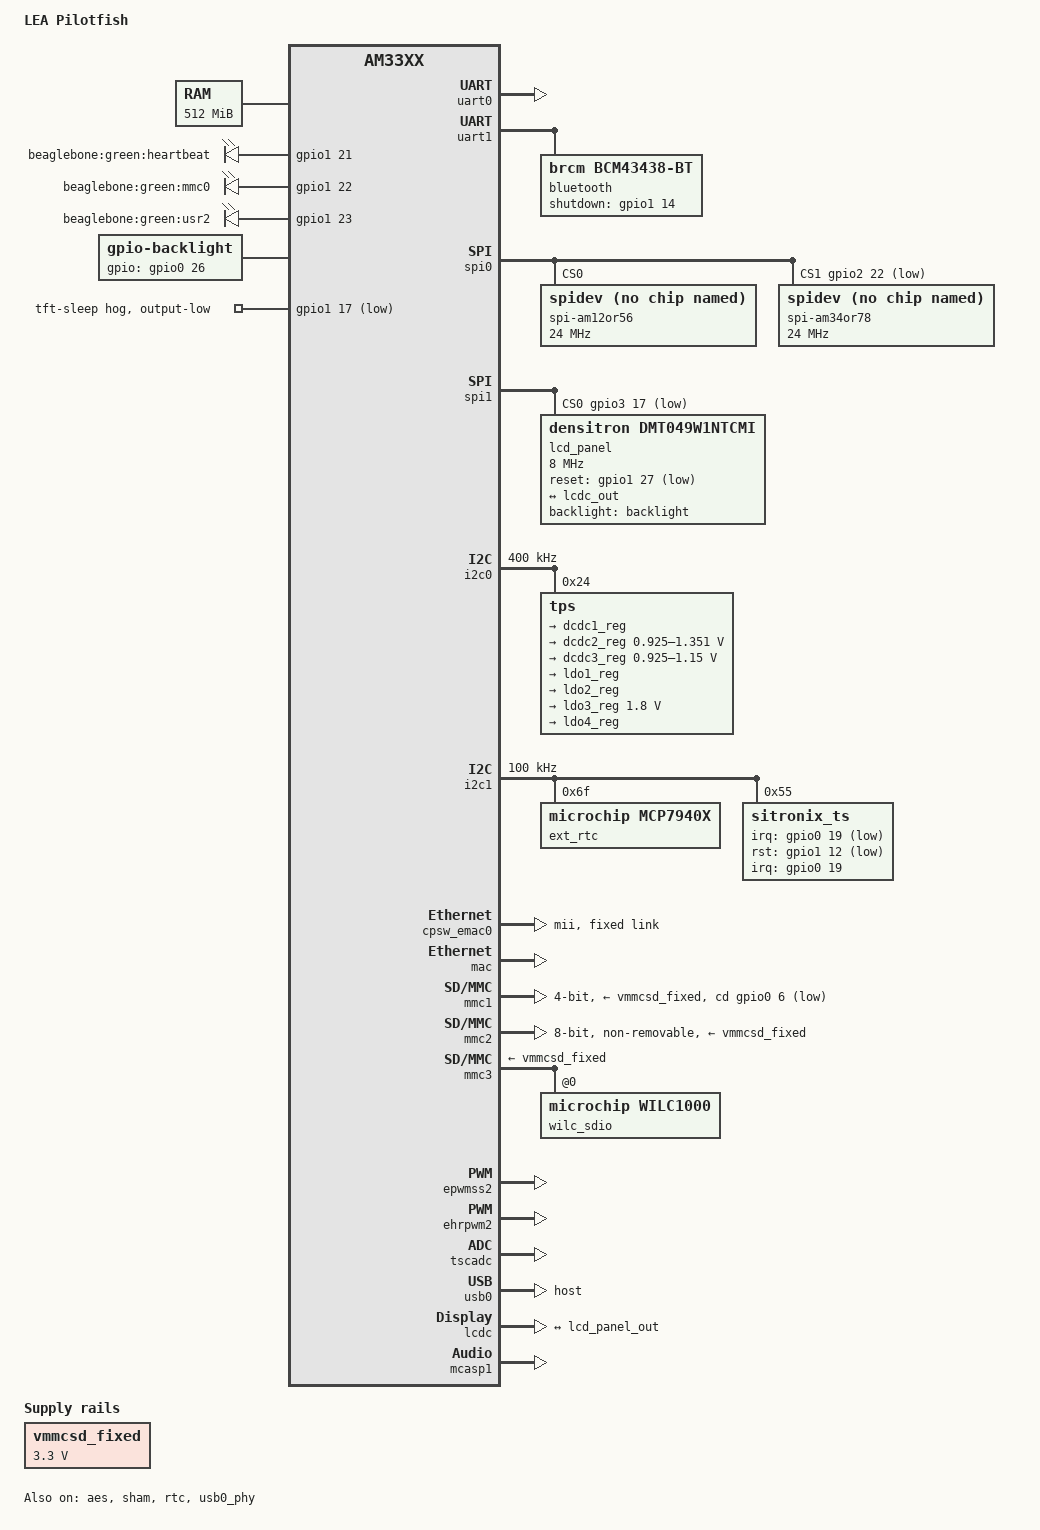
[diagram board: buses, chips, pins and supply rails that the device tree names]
// SPDX-License-Identifier: GPL-2.0-only
/*
 * Copyright (C) 2012 Texas Instruments Incorporated - https://www.ti.com/
 */
/dts-v1/;

#include <dt-bindings/interrupt-controller/irq.h>
#include "am33xx-lea-pilotfish.dtsi"

/ {
	aliases {
		rtc0 = &ext_rtc; /* Make the I2C RTC primary */
		rtc1 = &rtc;     /* Make the internal RTC secondary */
	};
};

/ {
	model = "LEA Pilotfish";
	compatible = "ti,am335x-bone-black", "ti,am335x-bone", "ti,am33xx";
};

/ {
	cpus {
		cpu@0 {
			cpu0-supply = <&dcdc2_reg>;
		};
	};

	memory@80000000 {
		device_type = "memory";
		reg = <0x80000000 0x20000000>; /* 512 MB */
	};

	chosen {
		stdout-path = &uart0;
	};

	leds {
		pinctrl-names = "default";
		pinctrl-0 = <&user_leds_s0>;

		compatible = "gpio-leds";

		led2 {
			label = "beaglebone:green:heartbeat";
			gpios = <&gpio1 21 GPIO_ACTIVE_HIGH>;
			linux,default-trigger = "heartbeat";
			default-state = "off";
		};

		led3 {
			label = "beaglebone:green:mmc0";
			gpios = <&gpio1 22 GPIO_ACTIVE_HIGH>;
			linux,default-trigger = "mmc0";
			default-state = "off";
		};

		led4 {
			label = "beaglebone:green:usr2";
			gpios = <&gpio1 23 GPIO_ACTIVE_HIGH>;
			linux,default-trigger = "cpu0";
			default-state = "off";
		};
	};

/* enable GPIO0[8] as active-high wakeup (note: wakeup not supported for normal gpios) */
  /* gpio_keys removed - LCD_DATA12 / GPIO0_8 reclaimed for LCDC */

	vmmcsd_fixed: fixedregulator0 {
		compatible = "regulator-fixed";
		regulator-name = "vmmcsd_fixed";
		regulator-min-microvolt = <3300000>;
		regulator-max-microvolt = <3300000>;
	};
};

&am33xx_pinmux {

	pinctrl-names = "default";
	pinctrl-0 = <&clkout2_pin &tof_pins>;

	clkout2_pin: pinmux_clkout2_pin {
		pinctrl-single,pins = <
			AM33XX_PADCONF(AM335X_PIN_XDMA_EVENT_INTR1, PIN_OUTPUT_PULLDOWN, MUX_MODE3)	/* xdma_event_intr1.clkout2 */
		>;
	};

	user_leds_s0: user_leds_s0 {
		pinctrl-single,pins = <
			AM33XX_PADCONF(AM335X_PIN_GPMC_A5, PIN_OUTPUT_PULLDOWN, MUX_MODE7)	/* gpmc_a5.gpio1_21 */
			AM33XX_PADCONF(AM335X_PIN_GPMC_A6, PIN_OUTPUT_PULLUP, MUX_MODE7)	/* gpmc_a6.gpio1_22 */
			AM33XX_PADCONF(AM335X_PIN_GPMC_A7, PIN_OUTPUT_PULLDOWN, MUX_MODE7)	/* gpmc_a7.gpio1_23 */
			AM33XX_PADCONF(AM335X_PIN_GPMC_A0, PIN_OUTPUT_PULLUP, MUX_MODE7)    /* gpmc_a0.gpio1_16 */
		>;
	};

	uart0_pins: pinmux_uart0_pins {
		pinctrl-single,pins = <
			AM33XX_PADCONF(AM335X_PIN_UART0_RXD, PIN_INPUT_PULLUP, MUX_MODE0)
			AM33XX_PADCONF(AM335X_PIN_UART0_TXD, PIN_OUTPUT_PULLDOWN, MUX_MODE0)
		>;
	};

	uart1_pins: pinmux_uart1_pins {
		pinctrl-single,pins = <
			AM33XX_IOPAD(AM335X_PIN_UART1_RXD, PIN_INPUT_PULLUP | MUX_MODE0)	/* uart1_rxd.uart1_rxd */
			AM33XX_IOPAD(AM335X_PIN_UART1_TXD, PIN_OUTPUT_PULLUP | MUX_MODE0)	/* uart1_txd.uart1_txd */
			AM33XX_IOPAD(AM335X_PIN_UART1_CTSN, PIN_INPUT_PULLUP | MUX_MODE0)	/* uart1_ctsn.uart1_ctsn */
			AM33XX_IOPAD(AM335X_PIN_UART1_RTSN, PIN_OUTPUT_PULLUP | MUX_MODE0)	/* uart1_rtsn.uart1_rtsn */
		>;
	};

	/* uart5 not used - LCD_DATA8/9 claimed by LCDC */

  spi0_pins: pinmux_spi0_pins {
    pinctrl-single,pins = <
      AM33XX_PADCONF(AM335X_PIN_SPI0_SCLK, PIN_INPUT_PULLUP, MUX_MODE0)	/* spi0 sclk (this is a quirk - sclk is actually an output, but pinmux must be programmed as an input for it to work! */
      AM33XX_PADCONF(AM335X_PIN_SPI0_D0, PIN_INPUT_PULLUP, MUX_MODE0)	  /* spi0 d0 */
      AM33XX_PADCONF(AM335X_PIN_SPI0_D1, PIN_OUTPUT_PULLUP, MUX_MODE0)	/* spi0 d1 */
      AM33XX_PADCONF(AM335X_PIN_SPI0_CS0, PIN_OUTPUT_PULLUP, MUX_MODE0)	/* spi0 cs0 */
    >;
  };

	spi1_pins: pinmux_spi1_pins {
		pinctrl-single,pins = <
			AM33XX_PADCONF(AM335X_PIN_MCASP0_ACLKX,  PIN_INPUT_PULLUP,    MUX_MODE3)	/* mcasp0_aclkx.spi1_sclk */
			AM33XX_PADCONF(AM335X_PIN_MCASP0_FSX,    PIN_OUTPUT_PULLDOWN, MUX_MODE3)	/* mcasp0_fsx.spi1_d0 - TFT_SDA (MOSI, ti,pindir-d0-out-d1-in) */
			AM33XX_PADCONF(AM335X_PIN_MCASP0_AXR0,   PIN_INPUT_PULLDOWN,  MUX_MODE3)	/* mcasp0_axr0.spi1_d1 - unused MISO */
			AM33XX_PADCONF(AM335X_PIN_MCASP0_AHCLKR, PIN_OUTPUT_PULLUP,   MUX_MODE3)	/* mcasp0_ahclkr.spi1_cs0 - TFT LCD init SPI */
		>;
	};

	lcd_pins: pinmux_lcd_pins {
		pinctrl-single,pins = <
			/* LCD panel reset - active low */
			AM33XX_PADCONF(AM335X_PIN_GPMC_A11, PIN_OUTPUT_PULLUP, MUX_MODE7)	/* gpmc_a11.gpio1_27 - LCD_RSTn */
			/* LCD panel sleep - active high (TFT_SLEEP) */
			AM33XX_PADCONF(AM335X_PIN_GPMC_A1, PIN_OUTPUT_PULLUP, MUX_MODE7)	/* gpmc_a1.gpio1_17 - TFT_SLEEP */
			/* CTP touch controller reset - active low */
			AM33XX_PADCONF(AM335X_PIN_GPMC_AD12, PIN_OUTPUT_PULLUP, MUX_MODE7)	/* gpmc_ad12.gpio1_12 - CTP_RST */
			/* CTP touch interrupt - active low, connected to XDMA_EVENT_INTR0 */
			AM33XX_PADCONF(AM335X_PIN_XDMA_EVENT_INTR0, PIN_INPUT_PULLUP, MUX_MODE7)	/* xdma_event_intr0.gpio0_19 - CTP_INT */
			/* 20V backlight enable - active high */
			AM33XX_PADCONF(AM335X_PIN_GPMC_AD10, PIN_OUTPUT_PULLDOWN, MUX_MODE7)	/* gpmc_ad10.gpio0_26 - BL_EN_20V */
		>;
	};

	i2c0_pins: pinmux_i2c0_pins {
		pinctrl-single,pins = <
			AM33XX_PADCONF(AM335X_PIN_I2C0_SDA, PIN_INPUT_PULLUP, MUX_MODE0)	/* i2c0_sda.i2c0_sda */
			AM33XX_PADCONF(AM335X_PIN_I2C0_SCL, PIN_INPUT_PULLUP, MUX_MODE0)	/* i2c0_scl.i2c0_scl */
		>;
	};

	i2c1_pins: pinmux_i2c1_pins {
		pinctrl-single,pins = <
			AM33XX_PADCONF(AM335X_PIN_UART0_CTSN, PIN_INPUT_PULLUP, MUX_MODE3)	/* uart0_ctsn.i2c1_sda */
			AM33XX_PADCONF(AM335X_PIN_UART0_RTSN, PIN_INPUT_PULLUP, MUX_MODE3)	/* uart0_rtsn.i2c1_scl */
		>;
	};


	cpsw_default: cpsw_default {
		pinctrl-single,pins = <
			/* Slave 1 */
			AM33XX_PADCONF(AM335X_PIN_MII1_RX_ER, PIN_INPUT, MUX_MODE0)
			AM33XX_PADCONF(AM335X_PIN_MII1_TX_EN, PIN_OUTPUT, MUX_MODE0)
			AM33XX_PADCONF(AM335X_PIN_MII1_RX_DV, PIN_INPUT, MUX_MODE0)
			AM33XX_PADCONF(AM335X_PIN_MII1_TXD3, PIN_OUTPUT, MUX_MODE0)
			AM33XX_PADCONF(AM335X_PIN_MII1_TXD2, PIN_OUTPUT, MUX_MODE0)
			AM33XX_PADCONF(AM335X_PIN_MII1_TXD1, PIN_OUTPUT, MUX_MODE0)
			AM33XX_PADCONF(AM335X_PIN_MII1_TXD0, PIN_OUTPUT, MUX_MODE0)
			AM33XX_PADCONF(AM335X_PIN_MII1_TX_CLK, PIN_INPUT, MUX_MODE0)
			AM33XX_PADCONF(AM335X_PIN_MII1_RX_CLK, PIN_INPUT, MUX_MODE0)
			AM33XX_PADCONF(AM335X_PIN_MII1_RXD3, PIN_INPUT, MUX_MODE0)
			AM33XX_PADCONF(AM335X_PIN_MII1_RXD2, PIN_INPUT, MUX_MODE0)
			AM33XX_PADCONF(AM335X_PIN_MII1_RXD1, PIN_INPUT, MUX_MODE0)
			AM33XX_PADCONF(AM335X_PIN_MII1_RXD0, PIN_INPUT, MUX_MODE0)
		>;
	};

	cpsw_sleep: cpsw_sleep {
		pinctrl-single,pins = <
			/* Slave 1 reset value */
			AM33XX_PADCONF(AM335X_PIN_MII1_RX_ER, PIN_INPUT_PULLDOWN, MUX_MODE7)
			AM33XX_PADCONF(AM335X_PIN_MII1_TX_EN, PIN_INPUT_PULLDOWN, MUX_MODE7)
			AM33XX_PADCONF(AM335X_PIN_MII1_RX_DV, PIN_INPUT_PULLDOWN, MUX_MODE7)
			AM33XX_PADCONF(AM335X_PIN_MII1_TXD3, PIN_INPUT_PULLDOWN, MUX_MODE7)
			AM33XX_PADCONF(AM335X_PIN_MII1_TXD2, PIN_INPUT_PULLDOWN, MUX_MODE7)
			AM33XX_PADCONF(AM335X_PIN_MII1_TXD1, PIN_INPUT_PULLDOWN, MUX_MODE7)
			AM33XX_PADCONF(AM335X_PIN_MII1_TXD0, PIN_INPUT_PULLDOWN, MUX_MODE7)
			AM33XX_PADCONF(AM335X_PIN_MII1_TX_CLK, PIN_INPUT_PULLDOWN, MUX_MODE7)
			AM33XX_PADCONF(AM335X_PIN_MII1_RX_CLK, PIN_INPUT_PULLDOWN, MUX_MODE7)
			AM33XX_PADCONF(AM335X_PIN_MII1_RXD3, PIN_INPUT_PULLDOWN, MUX_MODE7)
			AM33XX_PADCONF(AM335X_PIN_MII1_RXD2, PIN_INPUT_PULLDOWN, MUX_MODE7)
			AM33XX_PADCONF(AM335X_PIN_MII1_RXD1, PIN_INPUT_PULLDOWN, MUX_MODE7)
			AM33XX_PADCONF(AM335X_PIN_MII1_RXD0, PIN_INPUT_PULLDOWN, MUX_MODE7)
		>;
	};

	davinci_mdio_default: davinci_mdio_default {
		pinctrl-single,pins = <
			/* MDIO */
			AM33XX_PADCONF(AM335X_PIN_MDIO, PIN_INPUT_PULLUP | SLEWCTRL_FAST, MUX_MODE0)
			AM33XX_PADCONF(AM335X_PIN_MDC, PIN_OUTPUT_PULLUP, MUX_MODE0)
		>;
	};

	davinci_mdio_sleep: davinci_mdio_sleep {
		pinctrl-single,pins = <
			/* MDIO reset value */
			AM33XX_PADCONF(AM335X_PIN_MDIO, PIN_INPUT_PULLDOWN, MUX_MODE7)
			AM33XX_PADCONF(AM335X_PIN_MDC, PIN_INPUT_PULLDOWN, MUX_MODE7)
		>;
	};

	mmc1_pins: pinmux_mmc1_pins {
		pinctrl-single,pins = <
			AM33XX_PADCONF(AM335X_PIN_MMC0_DAT3, PIN_INPUT_PULLUP, MUX_MODE0)
			AM33XX_PADCONF(AM335X_PIN_MMC0_DAT2, PIN_INPUT_PULLUP, MUX_MODE0)
			AM33XX_PADCONF(AM335X_PIN_MMC0_DAT1, PIN_INPUT_PULLUP, MUX_MODE0)
			AM33XX_PADCONF(AM335X_PIN_MMC0_DAT0, PIN_INPUT_PULLUP, MUX_MODE0)
			AM33XX_PADCONF(AM335X_PIN_MMC0_CLK, PIN_INPUT_PULLUP, MUX_MODE0)
			AM33XX_PADCONF(AM335X_PIN_MMC0_CMD, PIN_INPUT_PULLUP, MUX_MODE0)
		>;
	};

	emmc_pins: pinmux_emmc_pins {
		pinctrl-single,pins = <
			AM33XX_PADCONF(AM335X_PIN_GPMC_CSN1, PIN_INPUT_PULLUP, MUX_MODE2) /* gpmc_csn1.mmc1_clk */
			AM33XX_PADCONF(AM335X_PIN_GPMC_CSN2, PIN_INPUT_PULLUP, MUX_MODE2) /* gpmc_csn2.mmc1_cmd */
			AM33XX_PADCONF(AM335X_PIN_GPMC_AD0, PIN_INPUT_PULLUP, MUX_MODE1) /* gpmc_ad0.mmc1_dat0 */
			AM33XX_PADCONF(AM335X_PIN_GPMC_AD1, PIN_INPUT_PULLUP, MUX_MODE1) /* gpmc_ad1.mmc1_dat1 */
			AM33XX_PADCONF(AM335X_PIN_GPMC_AD2, PIN_INPUT_PULLUP, MUX_MODE1) /* gpmc_ad2.mmc1_dat2 */
			AM33XX_PADCONF(AM335X_PIN_GPMC_AD3, PIN_INPUT_PULLUP, MUX_MODE1) /* gpmc_ad3.mmc1_dat3 */
			AM33XX_PADCONF(AM335X_PIN_GPMC_AD4, PIN_INPUT_PULLUP, MUX_MODE1) /* gpmc_ad4.mmc1_dat4 */
			AM33XX_PADCONF(AM335X_PIN_GPMC_AD5, PIN_INPUT_PULLUP, MUX_MODE1) /* gpmc_ad5.mmc1_dat5 */
			AM33XX_PADCONF(AM335X_PIN_GPMC_AD6, PIN_INPUT_PULLUP, MUX_MODE1) /* gpmc_ad6.mmc1_dat6 */
			AM33XX_PADCONF(AM335X_PIN_GPMC_AD7, PIN_INPUT_PULLUP, MUX_MODE1) /* gpmc_ad7.mmc1_dat7 */
		>;
	};

  wifi_pins: pinmux_wifi_pins {
    pinctrl-single,pins = <
      AM33XX_PADCONF(AM335X_PIN_GPMC_CLK, PIN_INPUT_PULLUP, MUX_MODE3) /* wifi_mmc2_clk  GPMC_CLK  / GPIO2_1  (V12) */
      AM33XX_PADCONF(AM335X_PIN_GPMC_CSN3, PIN_INPUT_PULLUP, MUX_MODE3) /* wifi_mmc2_cmd  GPMC_CSN3 / GPIO2_0  (T13) */
      //AM33XX_PADCONF(AM335X_PIN_GPMC_AD12, PIN_INPUT_PULLUP, MUX_MODE3) /* wifi_mmc2_dat0 GPMC_AD12 / GPIO1_12 (T12) */
      AM33XX_PADCONF(AM335X_PIN_GPMC_AD13, PIN_INPUT_PULLUP, MUX_MODE3) /* wifi_mmc2_dat1 GPMC_AD13 / GPIO1_13 (R12) */
      AM33XX_PADCONF(AM335X_PIN_GPMC_AD15, PIN_INPUT_PULLUP, MUX_MODE3) /* wifi_mmc2_dat3 GPMC_AD15 / GPIO1_15 (U13) */
      //AM33XX_PADCONF(AM335X_PIN_GPMC_A1, PIN_INPUT_PULLUP, MUX_MODE7) /* wifi_mmc2_/rst GPMC_A1   / GPIO1_17 (V14) */
      //AM33XX_PADCONF(AM335X_PIN_UART0_RTSN, PIN_INPUT_PULLUP, MUX_MODE7) /* 3.3V switched power supply enable UART0_RTS / GPIO1_9 */
    >;
  };

  bt_pins: pinmux_bt_pins {
    pinctrl-single,pins = <
      AM33XX_PADCONF(AM335X_PIN_GPMC_AD14, PIN_OUTPUT_PULLDOWN, MUX_MODE7) /* gpmc_ad14.gpio1_14 - CYBT-343026-01 BT_REG_ON (active-high, pulled low at boot) */
    >;
  };

	/* McASP1 I2S output to Dante module.
	 * All three pads are on the MCASP0_* ball row, muxed to mcasp1 at MUX_MODE3.
	 * McASP1 is configured as I2S master (drives BCLK and LRCLK).
	 *   MCASP0_ACLKR  (B12 / gpio3_18) → mcasp1_aclkx  = BCLK
	 *   MCASP0_FSR    (C13 / gpio3_19) → mcasp1_fsx    = LRCLK
	 *   MCASP0_AHCLKX (A14 / gpio3_21) → mcasp1_axr1   = DOUT (serializer 1)
	 */
	mcasp1_pins: pinmux_mcasp1_pins {
		pinctrl-single,pins = <
			AM33XX_PADCONF(AM335X_PIN_MCASP0_ACLKR,  PIN_OUTPUT_PULLDOWN, MUX_MODE3) /* mcasp0_aclkr.mcasp1_aclkx  - BCLK  (B12) */
			AM33XX_PADCONF(AM335X_PIN_MCASP0_FSR,    PIN_OUTPUT_PULLDOWN, MUX_MODE3) /* mcasp0_fsr.mcasp1_fsx      - LRCLK (C13) */
			AM33XX_PADCONF(AM335X_PIN_MCASP0_AHCLKX, PIN_OUTPUT_PULLDOWN, MUX_MODE3) /* mcasp0_ahclkx.mcasp1_axr1  - DOUT  (A14) */
		>;
	};

	ehrpwm1_pins: pinmux_ehrpwm1_pins {
		pinctrl-single,pins = <
			/* AM33XX_PADCONF(AM335X_PIN_GPMC_A2, PIN_OUTPUT_PULLDOWN, MUX_MODE6) *//* ehrpwm1 A */
			/* AM33XX_PADCONF(AM335X_PIN_GPMC_A3, PIN_OUTPUT_PULLDOWN, MUX_MODE6) *//* ehrpwm1 B */
		>;
	};
	ehrpwm2_pins: pinmux_ehrpwm2_pins {
		pinctrl-single,pins = <
			AM33XX_PADCONF(AM335X_PIN_GPMC_AD8, PIN_OUTPUT_PULLDOWN, MUX_MODE4)	/* ehrpwm2 A */
			/* AM33XX_PADCONF(AM335X_PIN_GPMC_AD9, PIN_OUTPUT_PULLDOWN, MUX_MODE4) *//* ehrpwm2 B */
		>;
	};

	/* gpio0_8 / LCD_DATA12 reclaimed by LCDC - wakeup key removed */

	tof_pins: pinmux_tof_pins {
		pinctrl-single,pins = <
			AM33XX_PADCONF(AM335X_PIN_RMII1_REF_CLK, PIN_INPUT_PULLUP, MUX_MODE7)  /* rmii1_ref_clk.gpio0_29 - ToF sensor interrupt */
			AM33XX_PADCONF(AM335X_PIN_GPMC_WEN, PIN_OUTPUT_PULLDOWN, MUX_MODE7)    /* gpmc_wen.gpio2_4 - ToF XSHUT (active-low, pulled low at boot) */
		>;
	};

	/* DMT049W1NTCMI-1A parallel RGB bus (16-bit RGB565).
	 * All 16 data lines available - UART5 disabled, wakeup key removed. */
	lcdc_pins: pinmux_lcdc_pins {
		pinctrl-single,pins = <
			AM33XX_PADCONF(AM335X_PIN_LCD_DATA0,  PIN_OUTPUT, MUX_MODE0)	/* lcd_data0 */
			AM33XX_PADCONF(AM335X_PIN_LCD_DATA1,  PIN_OUTPUT, MUX_MODE0)	/* lcd_data1 */
			AM33XX_PADCONF(AM335X_PIN_LCD_DATA2,  PIN_OUTPUT, MUX_MODE0)	/* lcd_data2 */
			AM33XX_PADCONF(AM335X_PIN_LCD_DATA3,  PIN_OUTPUT, MUX_MODE0)	/* lcd_data3 */
			AM33XX_PADCONF(AM335X_PIN_LCD_DATA4,  PIN_OUTPUT, MUX_MODE0)	/* lcd_data4 */
			AM33XX_PADCONF(AM335X_PIN_LCD_DATA5,  PIN_OUTPUT, MUX_MODE0)	/* lcd_data5 */
			AM33XX_PADCONF(AM335X_PIN_LCD_DATA6,  PIN_OUTPUT, MUX_MODE0)	/* lcd_data6 */
			AM33XX_PADCONF(AM335X_PIN_LCD_DATA7,  PIN_OUTPUT, MUX_MODE0)	/* lcd_data7 */
			AM33XX_PADCONF(AM335X_PIN_LCD_DATA8,  PIN_OUTPUT, MUX_MODE0)	/* lcd_data8  (was UART5 TXD) */
			AM33XX_PADCONF(AM335X_PIN_LCD_DATA9,  PIN_OUTPUT, MUX_MODE0)	/* lcd_data9  (was UART5 RXD) */
			AM33XX_PADCONF(AM335X_PIN_LCD_DATA10, PIN_OUTPUT, MUX_MODE0)	/* lcd_data10 */
			AM33XX_PADCONF(AM335X_PIN_LCD_DATA11, PIN_OUTPUT, MUX_MODE0)	/* lcd_data11 */
			AM33XX_PADCONF(AM335X_PIN_LCD_DATA12, PIN_OUTPUT, MUX_MODE0)	/* lcd_data12 (was wakeup GPIO0_8) */
			AM33XX_PADCONF(AM335X_PIN_LCD_DATA13, PIN_OUTPUT, MUX_MODE0)	/* lcd_data13 */
			AM33XX_PADCONF(AM335X_PIN_LCD_DATA14, PIN_OUTPUT, MUX_MODE0)	/* lcd_data14 */
			AM33XX_PADCONF(AM335X_PIN_LCD_DATA15, PIN_OUTPUT, MUX_MODE0)	/* lcd_data15 */
			/* Control signals */
			AM33XX_PADCONF(AM335X_PIN_LCD_VSYNC,      PIN_OUTPUT, MUX_MODE0)	/* lcd_vsync */
			AM33XX_PADCONF(AM335X_PIN_LCD_HSYNC,      PIN_OUTPUT, MUX_MODE0)	/* lcd_hsync */
			AM33XX_PADCONF(AM335X_PIN_LCD_PCLK,       PIN_OUTPUT, MUX_MODE0)	/* lcd_pclk */
			AM33XX_PADCONF(AM335X_PIN_LCD_AC_BIAS_EN, PIN_OUTPUT, MUX_MODE0)	/* lcd_ac_bias_en / DE */
		>;
	};

	usb0_drvvbus_pins: pinmux_usb0_drvvbus_pins {
		pinctrl-single,pins = <
			AM33XX_PADCONF(AM335X_PIN_USB0_DRVVBUS, PIN_OUTPUT_PULLDOWN, MUX_MODE0)	/* usb0_drvvbus - MUSB hardware VBUS enable output to external 5V switch */
		>;
	};
};

&uart0 {
	pinctrl-names = "default";
	pinctrl-0 = <&uart0_pins>;
	status = "okay";
};

&uart1 {
	pinctrl-names = "default";
	pinctrl-0 = <&uart1_pins &bt_pins>;
	status = "okay";

	bluetooth {
		compatible = "brcm,bcm43438-bt";
		max-speed = <3000000>;
		shutdown-gpios = <&gpio1 14 GPIO_ACTIVE_HIGH>;
	};
};

&uart5 {
	/* UART5 disabled - LCD_DATA8/9 reclaimed for LCDC */
	status = "disabled";
};

&spi0 { 
    status = "okay";
    pinctrl-names = "default";
    pinctrl-0 = <&spi0_pins>;
    cs-gpios = <0>, <&gpio2 22 GPIO_ACTIVE_LOW>; /* note: SPI chip selects are steered externally with an additional GPIO pin */
    spi-am12or56@0 {
        spi-max-frequency = <24000000>;
        reg = <0>;
        compatible = "linux,spidev";
    };
    spi-am34or78@1 {
        spi-max-frequency = <24000000>;
        reg = <1>;
        compatible = "linux,spidev";
    };
};

&spi1 {
    status = "okay";
    pinctrl-names = "default";
    pinctrl-0 = <&spi1_pins &lcd_pins>;
    /* cs0: MCASP0_AHCLKR / gpio3_17 - TFT LCD SPI init (only device on SPI1) */
    cs-gpios = <&gpio3 17 GPIO_ACTIVE_LOW>;
    num-chipselects = <1>;
    /* TFT_SDA is wired to SPI1_D0 (MISO pin), not SPI1_D1 (MOSI pin).
     * This property swaps the D0/D1 directions so D0 becomes the output. */
    ti,pindir-d0-out-d1-in;

    /* DMT049W1NTCMI-1A LCD SPI init interface (Sitronix ST7102 TDDI)
     * SPI Mode 3 (CPOL=1, CPHA=1), write-only, used only for panel init sequence.
     * Pixel data is delivered over the RGB parallel (LCDC) bus.
     * Bound to panel-dmt049w1ntcmi kernel driver which fires init in .prepare().
     * tilcdc connects directly to this panel via the port/endpoint graph. */
    lcd_panel: spi-lcd@0 {
        compatible = "densitron,dmt049w1ntcmi";
        reg = <0>;
        spi-max-frequency = <8000000>;
        spi-cpol;
        spi-cpha;
        /* LCD hard reset: GPMC_A11 / gpio1_27, active-low */
        reset-gpios = <&gpio1 27 GPIO_ACTIVE_LOW>;
        backlight = <&backlight>;
        port {
            lcd_panel_out: endpoint {
                remote-endpoint = <&lcdc_out>;
            };
        };
    };
};

&i2c0 {
	pinctrl-names = "default";
	pinctrl-0 = <&i2c0_pins>;
	status = "okay";
	clock-frequency = <400000>;
	tps: tps@24 {
		reg = <0x24>;
	};
};

&i2c1 {
	pinctrl-names = "default";
	pinctrl-0 = <&i2c1_pins>;
	status = "okay";
	clock-frequency = <100000>;

	ext_rtc: rtc@6f {
		compatible = "microchip,mcp7940x";
		reg = <0x6f>;
	};

	/* Sitronix ST7102 TDDI capacitive touch controller
	 * Part of the Densitron DMT049W1NTCMI-1A display module.
	 * I2C address: 0x55 (7-bit) = 0xAA write / 0xAB read (8-bit per datasheet)
	 * IRQ:   XDMA_EVENT_INTR0 / gpio0_19
	 * Reset: GPMC_AD12        / gpio1_12 */
	sitronix_ts: sitronix@55 {
		compatible = "sitronix_ts";
		reg = <0x55>;
		interrupt-parent = <&gpio0>;
		interrupts = <19 IRQ_TYPE_EDGE_FALLING>;
		irq-gpio = <&gpio0 19 GPIO_ACTIVE_LOW>;
		rst-gpio = <&gpio1 12 GPIO_ACTIVE_LOW>;
		status = "okay";
	};
};

&i2c2 {
	/* uart1_ctsn/rtsn pins are used for CYBT-343026-01 UART1 flow control; i2c2 is unavailable */
	status = "disabled";
};

/include/ "tps65217.dtsi"

&tps {
	/*
	 * Configure pmic to enter OFF-state instead of SLEEP-state ("RTC-only
	 * mode") at poweroff.  Most BeagleBone versions do not support RTC-only
	 * mode and risk hardware damage if this mode is entered.
	 *
	 * For details, see linux-omap mailing list May 2015 thread
	 *	[PATCH] ARM: dts: am335x-bone* enable pmic-shutdown-controller
	 * In particular, messages:
	 *	http://www.spinics.net/lists/linux-omap/msg118585.html
	 *	http://www.spinics.net/lists/linux-omap/msg118615.html
	 *
	 * You can override this later with
	 *	&tps {  /delete-property/ ti,pmic-shutdown-controller;  }
	 * if you want to use RTC-only mode and made sure you are not affected
	 * by the hardware problems. (Tip: double-check by performing a current
	 * measurement after shutdown: it should be less than 1 mA.)
	 */

	interrupts = <7>; /* NMI */
	interrupt-parent = <&intc>;

	ti,pmic-shutdown-controller;

	charger {
		status = "okay";
	};

	pwrbutton {
		status = "okay";
	};

	regulators {
		dcdc1_reg: regulator@0 {
			regulator-name = "vdds_dpr";
			regulator-always-on;
		};

		dcdc2_reg: regulator@1 {
			/* VDD_MPU voltage limits 0.95V - 1.26V with +/-4% tolerance */
			regulator-name = "vdd_mpu";
			regulator-min-microvolt = <925000>;
			regulator-max-microvolt = <1351500>;
			regulator-boot-on;
			regulator-always-on;
		};

		dcdc3_reg: regulator@2 {
			/* VDD_CORE voltage limits 0.95V - 1.1V with +/-4% tolerance */
			regulator-name = "vdd_core";
			regulator-min-microvolt = <925000>;
			regulator-max-microvolt = <1150000>;
			regulator-boot-on;
			regulator-always-on;
		};

		ldo1_reg: regulator@3 {
			regulator-name = "vio,vrtc,vdds";
			regulator-always-on;
		};

		ldo2_reg: regulator@4 {
			regulator-name = "vdd_3v3aux";
			regulator-always-on;
		};

		ldo3_reg: regulator@5 {
			regulator-name = "vdd_1v8";
			regulator-always-on;
		};

		ldo4_reg: regulator@6 {
			regulator-name = "vdd_3v3a";
			regulator-always-on;
		};
	};
};

&cpsw_emac0 {
	phy-mode = "mii";

    fixed-link {
        speed = <100>;
        full-duplex;
    };
};

&cpsw_emac1 {
	status = "disabled";
};

&mac {
	pinctrl-names = "default", "sleep";
	pinctrl-0 = <&cpsw_default>;
	pinctrl-1 = <&cpsw_sleep>;
	status = "okay";
	slaves = <1>;
	active_slave = <0>;
};

&davinci_mdio {
    status = "disabled";
};

&aes {
	status = "okay";
};

&sham {
	status = "okay";
};

&rtc {
	clocks = <&clk_32768_ck>, <&clk_24mhz_clkctrl AM3_CLK_24MHZ_CLKDIV32K_CLKCTRL 0>;
	clock-names = "ext-clk", "int-clk";
	system-power-controller;
	status = "okay";
};


&ldo3_reg {
	regulator-min-microvolt = <1800000>;
	regulator-max-microvolt = <1800000>;
	regulator-always-on;
};

&mmc1 {
	status = "okay";
	vmmc-supply = <&vmmcsd_fixed>;
	bus-width = <4>;
	pinctrl-names = "default";
	pinctrl-0 = <&mmc1_pins>;
	cd-gpios = <&gpio0 6 GPIO_ACTIVE_LOW>;
};

&mmc2 {
	vmmc-supply = <&vmmcsd_fixed>;
	pinctrl-names = "default";
	pinctrl-0 = <&emmc_pins>;
	bus-width = <8>;
	status = "okay";
	non-removable;
};

&mmc3 {
  vmmc-supply = <&vmmcsd_fixed>;
  pinctrl-names = "default";
  pinctrl-0 = <&wifi_pins>;
  max-frequency = <25000000>;
  dmas = <&edma_xbar 12 0 1>, <&edma_xbar 13 0 2>;
  dma-names = "tx", "rx";
  status = "okay";
  //non-removable;
  //broken-cd;
  wilc_sdio@0 {
    compatible = "microchip,wilc1000";
    status = "okay";
    reg = <0x0>;
    bus-width = <0x4>;
    clocks = <&clk_32768_ck>;
    clock-names = "rtc";
  };
};

/*
&epwmss1 {
  status = "okay";
};
&ehrpwm1 {
  pinctrl-names = "default";
  pinctrl-0 = <&ehrpwm1_pins>;
  status = "okay";
};
*/
&epwmss2 {
  status = "okay";
};
&ehrpwm2 {
  pinctrl-names = "default";
  pinctrl-0 = <&ehrpwm2_pins>;
  status = "okay";
};

&cpu0_opp_table {
	/*
	 * All PG 2.0 silicon may not support 1GHz but some of the early
	 * BeagleBone Blacks have PG 2.0 silicon which is guaranteed
	 * to support 1GHz OPP so enable it for PG 2.0 on this board.
	 */
	oppnitro-1000000000 {
		opp-supported-hw = <0x06 0x0100>;
	};
};

&gpio0 {
	gpio-line-names =
		"[mdio_data]",
		"[mdio_clk]",
		"P9_22 [spi0_sclk]",
		"P9_21 [spi0_d0]",
		"P9_18 [spi0_d1]",
		"P9_17 [spi0_cs0]",
		"[mmc0_cd]",
		"P8_42A [ecappwm0]",
		"[lcd_data12]",
		"[lcd_data13]",
		"[lcd_data14]",
		"[lcd_data15]",
		"P9_20 [i2c2_sda]",
		"P9_19 [i2c2_scl]",
		"P9_26 [uart1_rxd]",
		"P9_24 [uart1_txd]",
		"[rmii1_txd3]",
		"[rmii1_txd2]",
		"[usb0_drvvbus]",
		"[hdmi cec]",
		"P9_41B",
		"[rmii1_txd1]",
		"P8_19 [ehrpwm2a]",
		"P8_13 [ehrpwm2b]",
		"[ctp_int]",
		"NC",
		"[bl_en_20v]",
		"P8_17",
		"[rmii1_txd0]",
		"[rmii1_refclk] [tof_irq]",
		"P9_11 [uart4_rxd]",
		"P9_13 [uart4_txd]";
};

&gpio1 {
	gpio-line-names =
		"P8_25 [mmc1_dat0]",
		"[mmc1_dat1]",
		"P8_5 [mmc1_dat2]",
		"P8_6 [mmc1_dat3]",
		"P8_23 [mmc1_dat4]",
		"P8_22 [mmc1_dat5]",
		"P8_3 [mmc1_dat6]",
		"P8_4 [mmc1_dat7]",
		"NC",
		"NC",
		"NC",
		"NC",
		"[ctp_rst]",
		"P8_11",
		"P8_16",
		"P8_15",
		"P9_15A",
		"P9_23",
		"P9_14 [ehrpwm1a]",
		"P9_16 [ehrpwm1b]",
		"[emmc rst]",
		"[usr0 led]",
		"[usr1 led]",
		"[usr2 led]",
		"[usr3 led]",
		"[hdmi irq]",
		"[usb vbus oc]",
		"[lcd_rstn]",
		"P9_12",
		"P8_26",
		"P8_21 [emmc]",
		"P8_20 [emmc]";

	tft-sleep-hog {
		gpio-hog;
		/* TFT_SLEEP is active-low: pin HIGH = display awake, pin LOW = display sleeping.
		 * GPIO_ACTIVE_LOW + output-low = logically deasserted = pin physically HIGH = awake. */
		gpios = <17 GPIO_ACTIVE_LOW>;
		output-low;
		line-name = "tft-sleep";
	};
};

&gpio2 {
	gpio-line-names =
		"P9_15B",
		"P8_18",
		"P8_7",
		"P8_8",
		"[gpmc_wen] [tof_xshut]",
		"P8_9",
		"P8_45 [hdmi]",
		"P8_46 [hdmi]",
		"P8_43 [hdmi]",
		"P8_44 [hdmi]",
		"P8_41 [hdmi]",
		"P8_42 [hdmi]",
		"P8_39 [hdmi]",
		"P8_40 [hdmi]",
		"P8_37 [hdmi]",
		"P8_38 [hdmi]",
		"P8_36 [hdmi]",
		"P8_34 [hdmi]",
		"[rmii1_rxd3]",
		"[rmii1_rxd2]",
		"[rmii1_rxd1]",
		"[rmii1_rxd0]",
		"P8_27 [hdmi]",
		"P8_29 [hdmi]",
		"P8_28 [hdmi]",
		"P8_30 [hdmi]",
		"[mmc0_dat3]",
		"[mmc0_dat2]",
		"[mmc0_dat1]",
		"[mmc0_dat0]",
		"[mmc0_clk]",
		"[mmc0_cmd]";
};

&gpio3 {
	gpio-line-names =
		"[mii col]",
		"[mii crs]",
		"[mii rx err]",
		"[mii tx en]",
		"[mii rx dv]",
		"[i2c0 sda]",
		"[i2c0 scl]",
		"[jtag emu0]",
		"[jtag emu1]",
		"[mii tx clk]",
		"[mii rx clk]",
		"NC",
		"NC",
		"[usb vbus en]",
		"P9_31 [spi1_sclk]",
		"P9_29 [spi1_d0]",
		"P9_30 [spi1_d1]",
		"[spi1_cs0_lcd]",
		"NC",
		"P9_27",
		"P9_41A",
		"P9_25",
		"NC",
		"NC",
		"NC",
		"NC",
		"NC",
		"NC",
		"NC",
		"NC",
		"NC",
		"NC";
};

/* enable adc inputs 0 - 7 */
/* set channel avg/opendelay/sampledelay so a single channel is sampled at approx 48KHz */
/* ADC cycles = opendelay + (sampledelay + convtime) * (avg+1), where convtime = 15 and ADC clock = ~3MHz */
&tscadc {
  status = "okay";
  adc {
    ti,adc-channels = <0 1 2 3 4 5 6 7>;
	   ti,chan-step-avg = <0 0 0 0 0 0 0 0>;
	   ti,chan-step-opendelay= <20 20 20 20 20 20 20 20>;
	   ti,chan-step-sampledelay = <27 27 27 27 27 27 27 27>;
  };
};

&usb0 {
	pinctrl-names = "default";
	pinctrl-0 = <&usb0_drvvbus_pins>;
	dr_mode = "host";
	status = "okay";
};

&usb0_phy {
	status = "okay";
};

/* -----------------------------------------------------------------------
 * Densitron DMT049W1NTCMI-1A  4.9" 480x854 RGB display
 *   - Pixel data:  AM3352 LCDC (tilcdc) parallel RGB interface
 *   - Init cmds:   panel-dmt049w1ntcmi SPI driver on SPI1 cs0
 *                  (MCASP0_AHCLKR / gpio3_17), Mode 3, 8 MHz
 *                  Driver calls SPI init sequence in drm_panel.prepare()
 *                  before LCDC starts clocking pixels.
 *   - Touch (CTP): I2C1 @ 0x55 (Sitronix ST7102 TDDI, 7-bit; 0xAA/0xAB in datasheet)
 *   - LCD reset:   GPMC_A11  / gpio1_27  (active-low, owned by SPI driver node)
 *   - CTP reset:   GPMC_AD12 / gpio1_12  (active-low)
 *   - CTP IRQ:     XDMA_EVENT_INTR0 / gpio0_19 (falling edge)
 *   - BL enable:   GPMC_AD10 / gpio0_26  (active-high, gpio-backlight)
 *
 * tilcdc connects directly to the panel-dmt049w1ntcmi SPI driver panel
 * via the port/endpoint graph (no intermediate panel-dpi node needed).
 * The SPI driver's get_modes() provides the display timings.
 * ----------------------------------------------------------------------- */
/ {
	backlight: backlight {
		compatible = "gpio-backlight";
		/* 20V boost enable: GPMC_AD10 / gpio0_26, active-high */
		gpios = <&gpio0 26 GPIO_ACTIVE_HIGH>;
		default-on;
		status = "okay";
	};
};

&lcdc {
	status = "okay";
	pinctrl-names = "default";
	pinctrl-0 = <&lcdc_pins>;
	port {
		lcdc_out: endpoint {
			remote-endpoint = <&lcd_panel_out>;
		};
	};
};

/* -----------------------------------------------------------------------
 * Override BBB upstream DT nodes that conflict with the Pilotfish LCD.
 *
 * am335x-boneblack-common.dtsi (pulled in via compatible="ti,am335x-bone-black")
 * declares:
 *   - mcasp0: audio codec connected to LCDC via tda19988 HDMI TX
 *   - clk_mcasp0: gpio-gate-clock using gpio1_27 (GPMC_A11) as enable
 *   - tda19988 i2c node: HDMI transmitter using the LCDC port
 *
 * On Pilotfish, GPMC_A11/gpio1_27 is the LCD panel hard-reset (LCD_RSTn),
 * and the LCDC is connected directly to the DMT049W1NTCMI-1A RGB panel -
 * not to an HDMI transmitter.  We must free gpio1_27 and disconnect the
 * upstream HDMI audio wiring so the panel driver can own the reset GPIO.
 * ----------------------------------------------------------------------- */

/* Disable McASP0 - not used, and its pinmux claims GPMC_A11/gpio1_27 */
&mcasp0 {
	status = "disabled";
};

/* Disable the TDA19988 HDMI transmitter - not present on Pilotfish */
&i2c0 {
	tda19988: tda19988@70 {
		status = "disabled";
	};
};

/* Remove the gpio-gate-clock that grabs gpio1_27 (GPMC_A11 = LCD_RSTn).
 * The clk_mcasp0 node lives in root '/' from am335x-boneblack-common.dtsi.
 * We cannot /delete-node/ a node defined in an included DTSI by label from
 * a peer DTS file, so instead strip the enable-gpios property so the clock
 * driver never requests the GPIO.  The node itself becomes a fixed pass-through. */
/ {
	/delete-node/ clk_mcasp0;
	/delete-node/ sound;
};

/* -----------------------------------------------------------------------
 * McASP1 I2S output → Dante module
 *
 * McASP1 is configured as I2S master, 2-channel, 32-bit slots at 48 kHz.
 * Serializer 1 (AXR1, pad A14) is the transmit data line.
 * The Dante module is an I2S slave receiver and requires no codec driver —
 * a dummy codec is used so the simple-audio-card machine driver can bind.
 *
 * ALSA PCM device: hw:1,0  (card "pilotfish-dante", device 0)
 * PipeWire/PulseAudio will route the BlueZ A2DP sink here automatically
 * once the card is registered.
 * ----------------------------------------------------------------------- */
/ {
	dante_codec: dante-dummy-codec {
		compatible = "linux,spdif-dit";
		#sound-dai-cells = <0>;
	};

	sound_dante: sound-dante {
		compatible = "simple-audio-card";
		simple-audio-card,name = "pilotfish-dante";
		simple-audio-card,format = "i2s";
		/* McASP1 is I2S master: drives BCLK and LRCLK */
		simple-audio-card,bitclock-master = <&dante_cpu_dai>;
		simple-audio-card,frame-master = <&dante_cpu_dai>;

		dante_cpu_dai: simple-audio-card,cpu {
			sound-dai = <&mcasp1>;
			system-clock-frequency = <24576000>; /* 512 * 48000 Hz */
		};

		simple-audio-card,codec {
			sound-dai = <&dante_codec>;
		};
	};
};

&mcasp1 {
	pinctrl-names = "default";
	pinctrl-0 = <&mcasp1_pins>;
	status = "okay";
	#sound-dai-cells = <0>;
	op-mode = <0>;		/* MCASP_IIS_MODE */
	tdm-slots = <2>;
	/* serial-dir: 0=inactive, 1=TX, 2=RX
	 * 4 serializers: ser0=inactive, ser1=TX(AXR1/A14), ser2=inactive, ser3=inactive */
	serial-dir = <0 1 0 0>;
	tx-num-evt = <32>;
	rx-num-evt = <0>;
};
